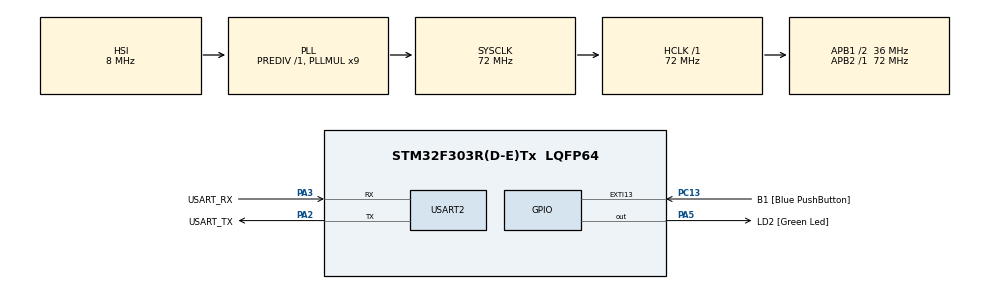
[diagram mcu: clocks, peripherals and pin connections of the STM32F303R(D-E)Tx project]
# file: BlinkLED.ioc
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FREERTOS.Tasks01=defaultTask,0,128,StartDefaultTask,Default,NULL,Dynamic,NULL,NULL;myTask02,0,128,StartTask02,Default,NULL,Dynamic,NULL,NULL
Mcu.Family=STM32F3
Mcu.Name=STM32F303R(D-E)Tx
Mcu.Package=LQFP64
NVIC.PriorityGroup=NVIC_PRIORITYGROUP_4
NVIC.USART2_IRQn=true\:5\:0\:false\:false\:true\:true\:true\:true\:true
PA13.GPIO_Label=TMS
PA13.Mode=Serial_Wire
PA13.Signal=SYS_JTMS-SWDIO
PA14.GPIO_Label=TCK
PA14.Mode=Serial_Wire
PA14.Signal=SYS_JTCK-SWCLK
PA2.GPIO_Label=USART_TX
PA2.GPIO_Mode=GPIO_MODE_AF_PP
PA2.GPIO_PuPd=GPIO_NOPULL
PA2.GPIO_Speed=GPIO_SPEED_FREQ_LOW
PA2.Mode=Asynchronous
PA2.Signal=USART2_TX
PA3.GPIO_Label=USART_RX
PA3.GPIO_Mode=GPIO_MODE_AF_PP
PA3.GPIO_PuPd=GPIO_NOPULL
PA3.GPIO_Speed=GPIO_SPEED_FREQ_LOW
PA3.Mode=Asynchronous
PA3.Signal=USART2_RX
PA5.GPIO_Label=LD2 [Green Led]
PA5.GPIO_Mode=GPIO_MODE_OUTPUT_PP
PA5.GPIO_PuPd=GPIO_NOPULL
PA5.GPIO_Speed=GPIO_SPEED_FREQ_LOW
PA5.Signal=GPIO_Output
PB3.GPIO_Label=SWO
PB3.Signal=SYS_JTDO-TRACESWO
PC13.GPIO_Label=B1 [Blue PushButton]
PC13.GPIO_ModeDefaultEXTI=GPIO_MODE_IT_FALLING
PC13.Signal=GPXTI13
PC14-OSC32_IN.Mode=LSE-External-Oscillator
PC14-OSC32_IN.Signal=RCC_OSC32_IN
PC15-OSC32_OUT.Mode=LSE-External-Oscillator
PC15-OSC32_OUT.Signal=RCC_OSC32_OUT
PF0-OSC_IN.Mode=HSE-External-Clock-Source
PF0-OSC_IN.Signal=RCC_OSC_IN
PF1-OSC_OUT.Signal=RCC_OSC_OUT
ProjectManager.HeapSize=0x200
ProjectManager.StackSize=0x1000
ProjectManager.TargetToolchain=STM32CubeIDE
RCC.AHBFreq_Value=72000000
RCC.APB1CLKDivider=RCC_HCLK_DIV2
RCC.APB1Freq_Value=36000000
RCC.APB1TimFreq_Value=72000000
RCC.APB2Freq_Value=72000000
RCC.APB2TimFreq_Value=72000000
RCC.CortexFreq_Value=72000000
RCC.HCLKFreq_Value=72000000
RCC.HSE_VALUE=8000000
RCC.HSI_VALUE=8000000
RCC.PLLM=8
RCC.PLLMUL=RCC_PLL_MUL9
RCC.PLLN=336
RCC.PLLP=RCC_PLLP_DIV4
RCC.PLLQ=7
RCC.RCC_PLLsource_Clock_Source_FROM_HSE=RCC_HSE_PREDIV_DIV2
RCC.SYSCLKFreq_VALUE=72000000
RCC.SYSCLKSourceVirtual=RCC_SYSCLKSOURCE_PLLCLK
RCC.USBFreq_Value=72000000
USART2.VirtualMode-Asynchronous=VM_ASYNC
VP_FREERTOS_VS_CMSIS_V1.Mode=CMSIS_V1
board=NUCLEO-F303RE

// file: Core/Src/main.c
/* USER CODE BEGIN Header */
/**
  ******************************************************************************
  * @file           : main.c
  * @brief          : Main program body
  ******************************************************************************
  * @attention
  *
  * Copyright (c) 2023 STMicroelectronics.
  * All rights reserved.
  *
  * This software is licensed under terms that can be found in the LICENSE file
  * in the root directory of this software component.
  * If no LICENSE file comes with this software, it is provided AS-IS.
  *
  ******************************************************************************
  */
/* USER CODE END Header */
#include "main.h"
#include <string.h>
#include "cmsis_os.h"
#include "RTE.h"
#include "UART.h"

UART_HandleTypeDef huart2;
uint8_t newInputReceived = 0;
osThreadId defaultTaskHandle;
osThreadId myTask02Handle;

void SystemClock_Config(void);
static void MX_GPIO_Init(void);
static void MX_USART2_UART_Init(void);
void StartDefaultTask(void const * argument);
void StartTask02(void const * argument);
void cleanBuffer(uint8_t *ForBuffer[]);

int main(void)
{

  /* MCU Configuration--------------------------------------------------------*/

  /* Reset of all peripherals, Initializes the Flash interface and the Systick. */
  HAL_Init();

  /* Configure the system clock */
  SystemClock_Config();

  /* Initialize all configured peripherals */
  MX_GPIO_Init();
  MX_USART2_UART_Init();
  /* USER CODE BEGIN 2 */
  HAL_UART_Receive_IT(&huart2, rx_data, 1);
  /* USER CODE END 2 */

  /* Create the thread(s) */
  /* definition and creation of defaultTask */
  osThreadDef(defaultTask, StartDefaultTask, osPriorityNormal, 0, 128);
  defaultTaskHandle = osThreadCreate(osThread(defaultTask), NULL);

  /* definition and creation of myTask02 */
  osThreadDef(myTask02, StartTask02, osPriorityNormal, 0, 128);
  myTask02Handle = osThreadCreate(osThread(myTask02), NULL);

  /* Start scheduler */
  osKernelStart();

  /* We should never get here as control is now taken by the scheduler */
  /* Infinite loop */
  while (1)
  {

  }
}

void SystemClock_Config(void)
{
  RCC_OscInitTypeDef RCC_OscInitStruct = {0};
  RCC_ClkInitTypeDef RCC_ClkInitStruct = {0};
  RCC_PeriphCLKInitTypeDef PeriphClkInit = {0};

  /** Initializes the RCC Oscillators according to the specified parameters
  * in the RCC_OscInitTypeDef structure.
  */
  RCC_OscInitStruct.OscillatorType = RCC_OSCILLATORTYPE_HSI;
  RCC_OscInitStruct.HSIState = RCC_HSI_ON;
  RCC_OscInitStruct.HSICalibrationValue = RCC_HSICALIBRATION_DEFAULT;
  RCC_OscInitStruct.PLL.PLLState = RCC_PLL_ON;
  RCC_OscInitStruct.PLL.PLLSource = RCC_PLLSOURCE_HSI;
  RCC_OscInitStruct.PLL.PLLMUL = RCC_PLL_MUL9;
  RCC_OscInitStruct.PLL.PREDIV = RCC_PREDIV_DIV1;
  if (HAL_RCC_OscConfig(&RCC_OscInitStruct) != HAL_OK)
  {
    Error_Handler();
  }

  /** Initializes the CPU, AHB and APB buses clocks
  */
  RCC_ClkInitStruct.ClockType = RCC_CLOCKTYPE_HCLK|RCC_CLOCKTYPE_SYSCLK
                              |RCC_CLOCKTYPE_PCLK1|RCC_CLOCKTYPE_PCLK2;
  RCC_ClkInitStruct.SYSCLKSource = RCC_SYSCLKSOURCE_PLLCLK;
  RCC_ClkInitStruct.AHBCLKDivider = RCC_SYSCLK_DIV1;
  RCC_ClkInitStruct.APB1CLKDivider = RCC_HCLK_DIV2;
  RCC_ClkInitStruct.APB2CLKDivider = RCC_HCLK_DIV1;

  if (HAL_RCC_ClockConfig(&RCC_ClkInitStruct, FLASH_LATENCY_2) != HAL_OK)
  {
    Error_Handler();
  }
  PeriphClkInit.PeriphClockSelection = RCC_PERIPHCLK_USART2;
  PeriphClkInit.Usart2ClockSelection = RCC_USART2CLKSOURCE_PCLK1;
  if (HAL_RCCEx_PeriphCLKConfig(&PeriphClkInit) != HAL_OK)
  {
    Error_Handler();
  }
}

static void MX_USART2_UART_Init(void)
{

  huart2.Instance = USART2;
  huart2.Init.BaudRate = 9600;
  huart2.Init.WordLength = UART_WORDLENGTH_8B;
  huart2.Init.StopBits = UART_STOPBITS_1;
  huart2.Init.Parity = UART_PARITY_NONE;
  huart2.Init.Mode = UART_MODE_TX_RX;
  huart2.Init.HwFlowCtl = UART_HWCONTROL_NONE;
  huart2.Init.OverSampling = UART_OVERSAMPLING_16;
  huart2.Init.OneBitSampling = UART_ONE_BIT_SAMPLE_DISABLE;
  huart2.AdvancedInit.AdvFeatureInit = UART_ADVFEATURE_NO_INIT;
  if (HAL_UART_Init(&huart2) != HAL_OK)
  {
    Error_Handler();
  }

}

static void MX_GPIO_Init(void)
{
  GPIO_InitTypeDef GPIO_InitStruct = {0};

  /* GPIO Ports Clock Enable */
  __HAL_RCC_GPIOC_CLK_ENABLE();
  __HAL_RCC_GPIOF_CLK_ENABLE();
  __HAL_RCC_GPIOA_CLK_ENABLE();
  __HAL_RCC_GPIOB_CLK_ENABLE();

  /*Configure GPIO pin Output Level */
  HAL_GPIO_WritePin(LD2_GPIO_Port, LD2_Pin, GPIO_PIN_RESET);

  /*Configure GPIO pin : B1_Pin */
  GPIO_InitStruct.Pin = B1_Pin;
  GPIO_InitStruct.Mode = GPIO_MODE_IT_FALLING;
  GPIO_InitStruct.Pull = GPIO_NOPULL;
  HAL_GPIO_Init(B1_GPIO_Port, &GPIO_InitStruct);

  /*Configure GPIO pin : LD2_Pin */
  GPIO_InitStruct.Pin = LD2_Pin;
  GPIO_InitStruct.Mode = GPIO_MODE_OUTPUT_PP;
  GPIO_InitStruct.Pull = GPIO_NOPULL;
  GPIO_InitStruct.Speed = GPIO_SPEED_FREQ_LOW;
  HAL_GPIO_Init(LD2_GPIO_Port, &GPIO_InitStruct);

}

/* USER CODE BEGIN 4 */

void HAL_UART_RxCpltCallback(UART_HandleTypeDef *huart)
{
	UNUSED(huart);
	int i,j;
	if(huart->Instance == USART2)
	{
		if(rx_indx==0){
			for(i=0;i<100;i++)
				rx_buffer[i]=0;
		}
		if(rx_data[0] != 13){
			rx_buffer[rx_indx++]=rx_data[0];

		}else{
			cleaned2buffer[0]=0x0;
			cleaned2buffer[2]=0x0;
			cleaned2buffer[1]=0x0;
			rx_indx=0;
			transfer_cplt=1;
			j = 0;
			newInputReceived = 1;

			//	for(i=0;i<100;i++){ 		// Cleaning Buffer after every read to not have garbage data stored.
			//		data_buffer[i]=0;		//
			//		cleaned_buffer[i]=0;	//
			//	}
			strcpy(data_buffer,rx_buffer);
			for (i = 0; i < strlen((char*)data_buffer); i++) {
			        if (data_buffer[i] != ' ') {
			           cleaned_buffer[j++]=data_buffer[i];
			        }
			    }
			j=0;
			for(i=0;i<strlen(cleaned_buffer);i=i+2){
				cleaned2buffer[j++]=asciiToHex(cleaned_buffer[i],cleaned_buffer[i+1]);
			}
		}
		HAL_UART_Receive_IT(&huart2, rx_data, 1);
		//HAL_UART_Transmit(&huart2, rx_data, strlen(rx_data), 100);
	}
}
void cleanBuffer(uint8_t *ForBuffer[]){
	for(int i=0;i < sizeof(ForBuffer);i++){ 		// Cleaning Buffer after every read to not have garbage data stored.
		ForBuffer[i]=0;			//
	}
}
uint8_t GetService_DCM(){
	return cleaned2buffer[1];
}
uint8_t GetFunction_DCM(){
	return cleaned2buffer[2];
}
uint8_t GetFunction2_DCM(){
	return cleaned2buffer[3];
}
uint8_t GetLenght_DCM(){
	return cleaned2buffer[0];
}
/* USER CODE END 4 */

void StartDefaultTask(void const * argument)
{
  /* USER CODE BEGIN 5 */
  /* Infinite loop */
  for(;;)
  {
	//  HAL_UART_Transmit(&huart2, rx_data, 6, 10);
	//  HAL_Delay(1000);
    osDelay(1);
  }
  /* USER CODE END 5 */
}

/* USER CODE BEGIN Header_StartTask02 */
/**
* @brief Function implementing the myTask02 thread.
* @param argument: Not used
* @resval None
*/
/* USER CODE END Header_StartTask02 */
void StartTask02(void const * argument)
{
  /* USER CODE BEGIN StartTask02 */
  /* Infinite loop */
  static int counter=0;
  for(;;)
  {
  counter++;
  RTE_Task_1ms();
  if(counter%5==0)
    RTE_Task_5ms();
  if(counter%10==0)
    RTE_Task_10ms();
  if(counter%100==0)
    RTE_Task_100ms();
  if(counter%500==0)
    RTE_Task_500ms();
  if(counter%1000==0){
	RTE_Task_1000ms();
  }
  osDelay(1);
  }
  /* USER CODE END StartTask02 */
}

void Error_Handler(void)
{
  __disable_irq();
  while (1)
  {
  }
}
